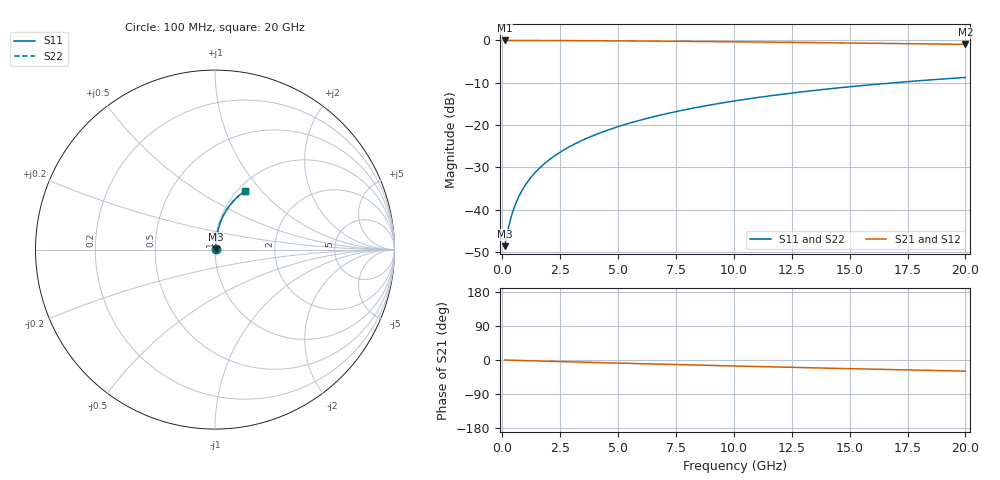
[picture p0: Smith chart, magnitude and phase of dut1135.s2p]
! Touchstone file exported from HFSS 2024.1.0
!  File:  C:/UserFiles/LocalFiles/RDL_TSV_Batchsim/temp_RDL_top_1135_1780047567.aedt
!  Generated:  05:41:45 PM May 29, 2026
!  Design:  RDL_top
!  Project:  temp_RDL_top_1135_1780047567
!  Setup:  Setup1
!  Solution:  Sweep
! Variables:
!  dtsv = 10.80580581um
!  hbump = 3um
!  htsv = 75.22um
!  ldown = 100um
!  lrdl = 320.34um
!  p = 40
!  p1 = 57.82um
!  rhole = 1um
!  t = 450um
!  tdown = 3.915915916um
!  trdl = 2.64um
!  wdown = 15.38538539um
!  wrdl = 14.67um
# GHz S MA R 50.000000
! Terminal data exported
! Port[1] = Box2_T1
! Port[2] = Box2_T2
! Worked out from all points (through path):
!   200 points, 100 MHz to 20 GHz, reference 50 ohm
!   highest |S21| = -0.03 dB at 100 MHz (marker M1); lowest = -1.0 dB at 20 GHz (marker M2)
!   group delay of S21, straight-line fit = 4.08 ps
!   lowest |S11| = -48.6 dB at 100 MHz (marker M3), VSWR 1.01, Z = 50.3 + j0.199 ohm
!   |S11| at or under -10 dB: start of sweep to 16.96 GHz
!   |S22| runs from -48.6 to -8.8 dB; largest |S21 - S12| = 3.1e-15
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0.1  0.003706 32.2  0.9969 -0.2  0.9969 -0.2  0.003706 32.2
! Gamma 0 0 0 0
! Port Impedance 50 0 50 0
0.2  0.005067 51.2  0.9968 -0.3  0.9968 -0.3  0.005067 51.2
0.3  0.006734 61.2  0.9967 -0.5  0.9967 -0.5  0.006734 61.2
0.4  0.008516 67.0  0.9966 -0.7  0.9966 -0.7  0.008516 67.0
0.5  0.01034 70.7  0.9965 -0.9  0.9965 -0.9  0.01034 70.7
0.6  0.01219 73.2  0.9964 -1.0  0.9964 -1.0  0.01219 73.2
0.8  0.01589 76.5  0.9962 -1.4  0.9962 -1.4  0.01589 76.5
1.1  0.02147 79.2  0.9959 -1.8  0.9959 -1.8  0.02147 79.2
1.5  0.02893 81.1  0.9953 -2.5  0.9953 -2.5  0.02893 81.1
1.8  0.03456 81.9  0.9948 -3.0  0.9948 -3.0  0.03456 81.9
2.1  0.0402 82.4  0.9943 -3.5  0.9943 -3.5  0.0402 82.4
2.7  0.05155 82.9  0.9931 -4.5  0.9931 -4.5  0.05155 82.9
3.5  0.06679 83.0  0.991 -5.8  0.991 -5.8  0.06679 83.0
4.2  0.0802 82.7  0.9888 -6.9  0.9888 -6.9  0.0802 82.7
5  0.09561 82.2  0.986 -8.2  0.986 -8.2  0.09561 82.2
5.9  0.113 81.4  0.9823 -9.6  0.9823 -9.6  0.113 81.4
6.8  0.1304 80.4  0.9783 -11.0  0.9783 -11.0  0.1304 80.4
8.3  0.1594 78.7  0.971 -13.3  0.971 -13.3  0.1594 78.7
10.1  0.1937 76.3  0.9612 -16.0  0.9612 -16.0  0.1937 76.3
13.4  0.2547 71.9  0.9413 -20.7  0.9413 -20.7  0.2547 71.9
16.7  0.3119 67.4  0.9195 -25.2  0.9195 -25.2  0.3119 67.4
20  0.3648 63.1  0.8963 -29.4  0.8963 -29.4  0.3648 63.1
